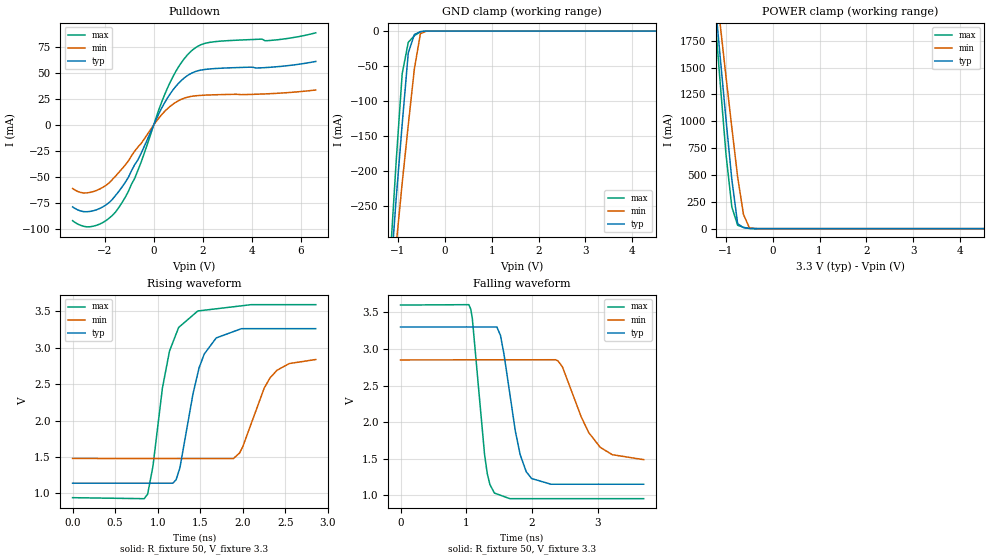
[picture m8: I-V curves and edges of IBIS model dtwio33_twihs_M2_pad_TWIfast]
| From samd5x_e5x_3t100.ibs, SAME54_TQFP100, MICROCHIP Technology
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|   MODEL : dtwio33_twihs_M2_pad_TWIfast
[Model] dtwio33_twihs_M2_pad_TWIfast
Model_type I/O_open_sink
Vinl  =  1.08
Vinh  =  2.52
Vmeas =  1.800
Vref  =  1.800
Rref  =  0
| Capacitance   typ   min   max
C_comp   2.785420369608021e-12   2.747323111252009e-12   2.829086138089862e-12
[Model Spec]
| Subparameter   typ   min   max
Vinl   0.99   0.855   1.08
Vinh   2.31   1.995   2.52
Vmeas   1.65   1.425   1.8
Vref   1.65   1.425   1.8
| Variables   typ   min   max
[GND Clamp Reference]   0   0   0
[POWER Clamp Reference]   3.3   2.85   3.6
[Pulldown Reference]   0   0   0
[Pullup Reference]   3.3   2.85   3.6
[Temperature Range]   25   125   -40
[Voltage Range]   3.3   2.85   3.6
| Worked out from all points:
|   slope of the pulldown table from 0 to 0.495 V, typ, clamps not added: 21.1 ohm
|   GND clamp passes 1 mA (typ) near -0.52 V on its own axis
|   POWER clamp passes 1 mA (typ) near -0.45 V on its own axis
|   rising waveform, R_fixture 50, V_fixture 3.3: 20-80 % time 230ps typ, 276ps min, 220ps max; typ from 1.14 V to 3.26 V
|   falling waveform, R_fixture 50, V_fixture 3.3: 20-80 % time 231ps typ, 411ps min, 163ps max; typ from 3.3 V to 1.15 V
[GND Clamp]
| Voltage   I(typ)   I(min)   I(max)
-3.3V     -2.811A    -2.445A    -3.176A
-1.164V   -360.2mA   -405.6mA   -328.3mA
-1.034V   -240.3mA   -306.5mA   -187.3mA
-905.2mV  -133.1mA   -217.4mA   -60.91mA
-775.9mV  -31.3mA    -134.4mA   -16.16mA
-646.6mV  -5.011mA   -54.58mA   -6.682mA
-517.2mV  -877.7uA   -3.713mA   -1.027mA
-387.9mV  -28.27uA   -139.7uA   -15.46uA
-258.6mV  -321.8nA   -3.949uA   -86.04nA
6.6V      0A         0A         0A
[POWER Clamp]
| Voltage   I(typ)   I(min)   I(max)
-3.3V     12.4A      10.96A     13.78A
-1.241V   2.197A     2.4A       2.047A
-1.117V   1.601A     1.903A     1.361A
-993.1mV  1.019A     1.416A     693.9mA
-869mV    458.6mA    942.1mA    202.4mA
-744.8mV  45.82mA    481.5mA    31.67mA
-620.7mV  9.704mA    132.6mA    12mA
-496.6mV  1.64mA     10.16mA    2.55mA
-372.4mV  58.76uA    488.7uA    132.1uA
6.6V      0A         0A         0A
[Pulldown]
| Voltage   I(typ)   I(min)   I(max)
-3.3V     -78.82mA   -61.1mA    -92.12mA
-2.845V   -83.43mA   -65.43mA   -97.56mA
-2.328V   -81.63mA   -63mA      -96.59mA
-1.422V   -63.98mA   -45.78mA   -79.58mA
-775.9mV  -38.31mA   -25.21mA   -51.5mA
227.6mV   11.76mA    7.269mA    15.87mA
682.8mV   30.45mA    18.26mA    41.8mA
1.138V    43.21mA    24.93mA    60.52mA
1.593V    50.55mA    27.88mA    72.55mA
2.39V     54.27mA    29.11mA    80.05mA
4.79V     55.77mA    30.31mA    81.6mA
6.6V      61.3mA     33.79mA    88.86mA
[Ramp]
dV/dt_r   1.29673/0.237929n  0.82282/0.279847n  1.59625/0.221749n
dV/dt_f   1.29673/0.232665n  0.82282/0.415961n  1.59625/0.16494n
R_load = 50
[Rising Waveform]
R_fixture = 50
V_fixture = 3.3
V_fixture_min = 2.85
V_fixture_max = 3.6
| Time   V(typ)   V(min)   V(max)
0s        1.139V     1.479V     939.6mV
882.6ps   1.139V     1.478V     988.3mV
1.056ns   1.139V     1.478V     2.445V
1.14ns    1.139V     1.478V     2.956V
1.262ns   1.35V      1.478V     3.295V
1.472ns   2.647V     1.477V     3.506V
1.69ns    3.137V     1.477V     3.537V
1.891ns   3.223V     1.477V     3.565V
2.321ns   3.263V     2.585V     3.594V
2.86ns    3.263V     2.839V     3.594V
[Falling Waveform]
R_fixture = 50
V_fixture = 3.3
V_fixture_min = 2.85
V_fixture_max = 3.6
| Time   V(typ)   V(min)   V(max)
0s        3.3V       2.85V      3.6V
1.04ns    3.3V       2.851V     3.605V
1.279ns   3.3V       2.851V     1.563V
1.429ns   3.3V       2.852V     1.031V
1.522ns   3.185V     2.852V     1.001V
1.82ns    1.558V     2.852V     954.1mV
1.995ns   1.229V     2.852V     954.1mV
2.398ns   1.151V     2.836V     954.1mV
3.041ns   1.151V     1.655V     954mV
3.701ns   1.151V     1.487V     954mV
